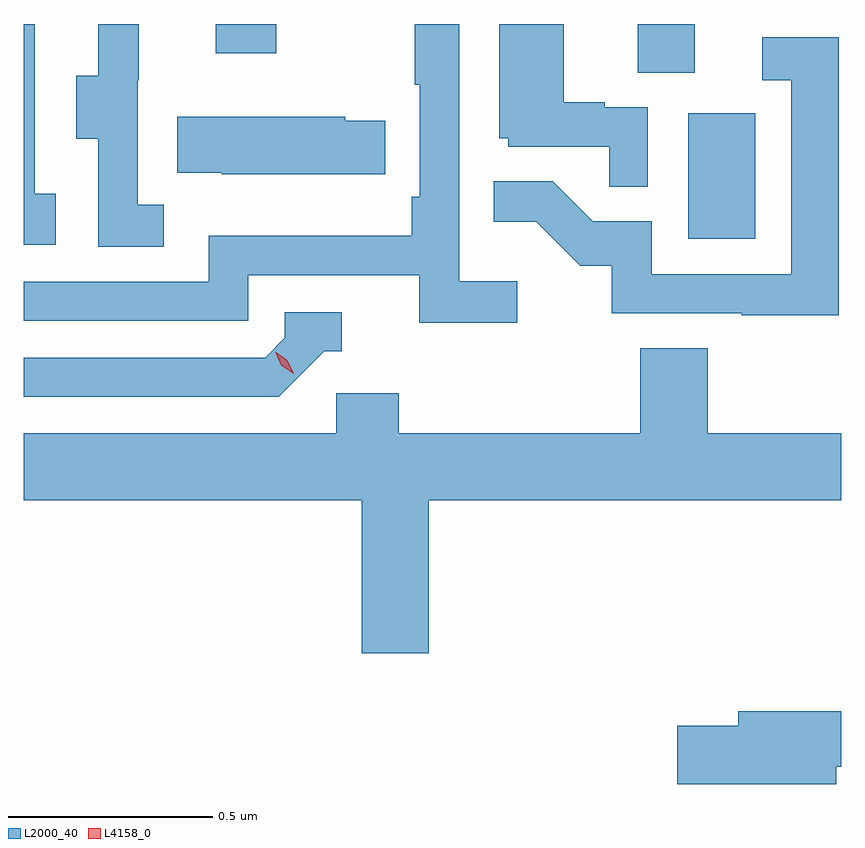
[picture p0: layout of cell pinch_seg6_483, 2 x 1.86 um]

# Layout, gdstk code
import gdstk
lib = gdstk.Library(unit=1e-6, precision=1e-09)
def R(c, l, rs):  # rectangles x0, y0, x1, y1
    for r in rs: c.add(gdstk.rectangle(r[:2], r[2:], *l))
def P(c, l, *ps):  # polygons
    for p in ps: c.add(gdstk.Polygon(p, *l))
L2000_40 = (2000, 40)
L4158_0 = (4158, 0)

pinch_seg6_483 = lib.new_cell('pinch_seg6_483')
R(pinch_seg6_483, L2000_40, [(873.098,922.668,873.262,922.975), (872.975,923.074,873.115,923.193), (871.943,923.121,872.091,923.193)])
P(pinch_seg6_483, L2000_40, [(871.816,922.751),(871.752,922.751),(871.752,923.055),(871.754,923.055),(871.754,923.193),(871.655,923.193),(871.655,923.067),(871.601,923.067),(871.601,922.912),(871.656,922.912),(871.656,922.648),(871.816,922.648)],
  [(873,922.989),(872.894,922.989),(872.894,923.002),(872.794,923.002),(872.794,923.193),(872.636,923.193),(872.636,922.914),(872.658,922.914),(872.658,922.893),(872.905,922.893),(872.905,922.795),(873,922.795)],
  [(871.552,922.778),(871.5,922.778),(871.5,923.193),(871.473,923.193),(871.473,922.653),(871.552,922.653)],
  [(872.68,922.564),(872.538,922.564),(872.538,923.193),(872.43,923.193),(872.43,923.044),(872.442,923.044),(872.442,922.771),(872.422,922.771),(872.422,922.675),(871.926,922.675),(871.926,922.563),(871.473,922.563),(871.473,922.467),(872.022,922.467),(872.022,922.578),(872.441,922.578),(872.441,922.462),(872.68,922.462)],
  [(873.467,923.161),(873.279,923.161),(873.279,923.055),(873.351,923.055),(873.351,922.581),(873.009,922.581),(873.009,922.71),(872.865,922.71),(872.767,922.808),(872.623,922.808),(872.623,922.709),(872.727,922.709),(872.834,922.602),(872.911,922.602),(872.911,922.485),(873.229,922.485),(873.229,922.48),(873.467,922.48)],
  [(872.357,922.956),(872.259,922.956),(872.259,922.966),(871.849,922.966),(871.849,922.829),(871.957,922.829),(871.957,922.826),(872.357,922.826)],
  [(872.208,922.392),(872.251,922.392),(872.251,922.488),(872.112,922.488),(872.112,922.425),(872.064,922.377),(871.473,922.377),(871.473,922.281),(872.097,922.281)],
  [(872.464,922.028),(873.473,922.028),(873.473,922.192),(873.146,922.192),(873.146,922.4),(872.981,922.4),(872.981,922.192),(872.39,922.192),(872.39,922.29),(872.238,922.29),(872.238,922.192),(871.473,922.192),(871.473,922.028),(872.3,922.028),(872.3,921.654),(872.464,921.654)],
  [(873.46,921.376),(873.473,921.376),(873.473,921.512),(873.221,921.512),(873.221,921.476),(873.072,921.476),(873.072,921.334),(873.46,921.334)])
P(pinch_seg6_483, L4158_0, [(872.133,922.338),(872.103,922.358),(872.088,922.391),(872.088,922.391),(872.088,922.391),(872.118,922.371),(872.134,922.338),(872.134,922.338)])

lib.write_gds('pinch_seg6_483.gds')
